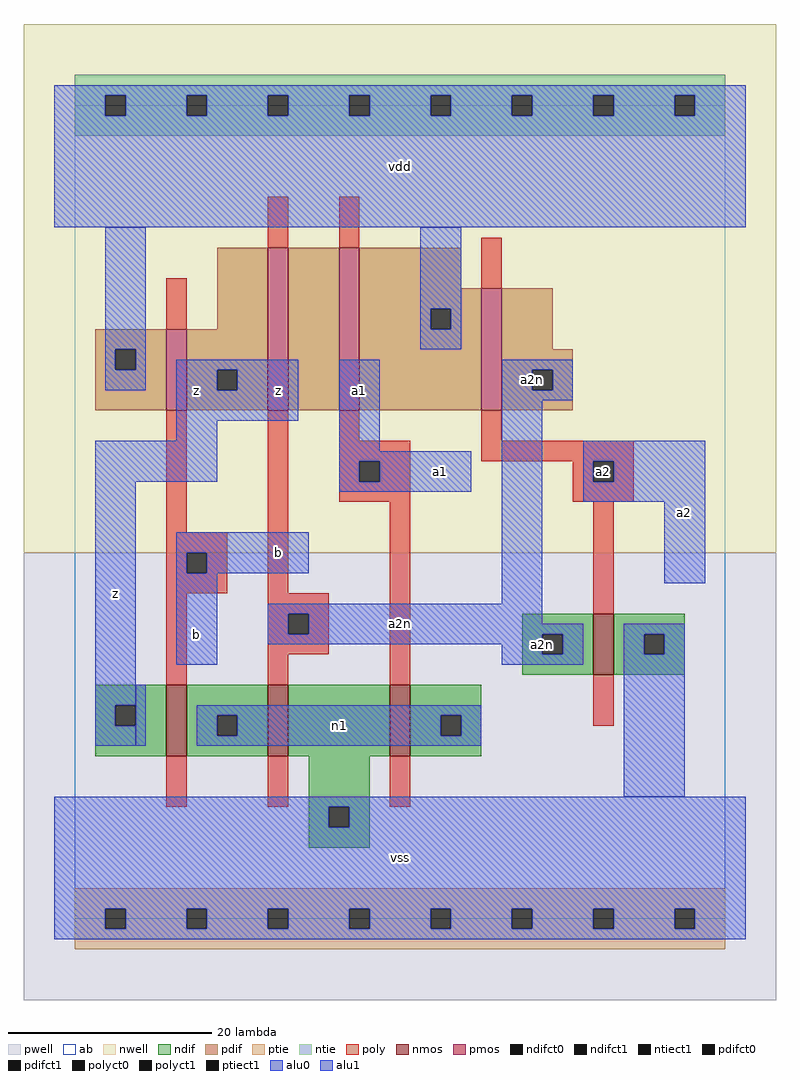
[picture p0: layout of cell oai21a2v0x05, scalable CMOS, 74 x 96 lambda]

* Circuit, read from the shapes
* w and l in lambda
.subckt oai21a2v0x05 a1 a2 a2n b n1 vdd vss z
M1 n1 b z vss nfet w=7 l=2
M2 vss a2n n1 vss nfet w=7 l=2
M3 n1 a1 vss vss nfet w=7 l=2
M4 vss a2 a2n vss nfet w=6 l=2
M5 z b vdd vdd pfet w=8 l=2
M6 n2 a2n z vdd pfet w=16 l=2
M7 vdd a1 n2 vdd pfet w=16 l=2
M8 a2n a2 vdd vdd pfet w=12 l=2
.ends

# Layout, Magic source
magic
tech scmos
<< ab >>
rect 0 0 64 80
<< nwell >>
rect -5 36 69 88
<< pwell >>
rect -5 -8 69 36
<< poly >>
rect 19 66 21 71
rect 26 66 28 71
rect 9 58 11 63
rect 40 62 42 67
rect 9 38 11 50
rect 9 36 15 38
rect 9 34 11 36
rect 13 34 15 36
rect 9 32 15 34
rect 19 32 21 50
rect 26 47 28 50
rect 40 47 42 50
rect 26 45 33 47
rect 40 45 55 47
rect 26 43 28 45
rect 30 43 33 45
rect 26 41 33 43
rect 49 43 51 45
rect 53 43 55 45
rect 49 41 55 43
rect 9 23 11 32
rect 19 30 25 32
rect 19 28 21 30
rect 23 28 25 30
rect 19 26 25 28
rect 19 23 21 26
rect 31 23 33 41
rect 51 30 53 41
rect 51 19 53 24
rect 9 11 11 16
rect 19 11 21 16
rect 31 11 33 16
<< ndif >>
rect 44 28 51 30
rect 44 26 46 28
rect 48 26 51 28
rect 44 24 51 26
rect 53 28 60 30
rect 53 26 56 28
rect 58 26 60 28
rect 53 24 60 26
rect 2 21 9 23
rect 2 19 4 21
rect 6 19 9 21
rect 2 16 9 19
rect 11 20 19 23
rect 11 18 14 20
rect 16 18 19 20
rect 11 16 19 18
rect 21 16 31 23
rect 33 20 40 23
rect 33 18 36 20
rect 38 18 40 20
rect 33 16 40 18
rect 23 11 29 16
rect 23 9 25 11
rect 27 9 29 11
rect 23 7 29 9
<< pdif >>
rect 14 58 19 66
rect 2 56 9 58
rect 2 54 4 56
rect 6 54 9 56
rect 2 50 9 54
rect 11 54 19 58
rect 11 52 14 54
rect 16 52 19 54
rect 11 50 19 52
rect 21 50 26 66
rect 28 62 38 66
rect 28 60 40 62
rect 28 58 35 60
rect 37 58 40 60
rect 28 50 40 58
rect 42 56 47 62
rect 42 54 49 56
rect 42 52 45 54
rect 47 52 49 54
rect 42 50 49 52
<< alu1 >>
rect -2 81 66 82
rect -2 79 3 81
rect 5 79 11 81
rect 13 79 19 81
rect 21 79 27 81
rect 29 79 35 81
rect 37 79 43 81
rect 45 79 51 81
rect 53 79 59 81
rect 61 79 66 81
rect -2 68 66 79
rect 10 54 22 55
rect 10 52 14 54
rect 16 52 22 54
rect 10 49 22 52
rect 10 47 14 49
rect 2 43 14 47
rect 26 46 30 55
rect 26 45 39 46
rect 26 43 28 45
rect 30 43 39 45
rect 2 21 6 43
rect 26 42 39 43
rect 10 36 23 38
rect 10 34 11 36
rect 13 34 23 36
rect 10 25 14 34
rect 50 45 62 47
rect 50 43 51 45
rect 53 43 62 45
rect 50 41 62 43
rect 58 33 62 41
rect 2 19 4 21
rect 2 17 6 19
rect -2 11 66 12
rect -2 9 25 11
rect 27 9 66 11
rect -2 1 66 9
rect -2 -1 3 1
rect 5 -1 11 1
rect 13 -1 19 1
rect 21 -1 27 1
rect 29 -1 35 1
rect 37 -1 43 1
rect 45 -1 51 1
rect 53 -1 59 1
rect 61 -1 66 1
rect -2 -2 66 -1
<< ptie >>
rect 0 1 64 3
rect 0 -1 3 1
rect 5 -1 11 1
rect 13 -1 19 1
rect 21 -1 27 1
rect 29 -1 35 1
rect 37 -1 43 1
rect 45 -1 51 1
rect 53 -1 59 1
rect 61 -1 64 1
rect 0 -3 64 -1
<< ntie >>
rect 0 81 64 83
rect 0 79 3 81
rect 5 79 11 81
rect 13 79 19 81
rect 21 79 27 81
rect 29 79 35 81
rect 37 79 43 81
rect 45 79 51 81
rect 53 79 59 81
rect 61 79 64 81
rect 0 77 64 79
<< nmos >>
rect 51 24 53 30
rect 9 16 11 23
rect 19 16 21 23
rect 31 16 33 23
<< pmos >>
rect 9 50 11 58
rect 19 50 21 66
rect 26 50 28 66
rect 40 50 42 62
<< polyct0 >>
rect 21 28 23 30
<< polyct1 >>
rect 11 34 13 36
rect 28 43 30 45
rect 51 43 53 45
<< ndifct0 >>
rect 46 26 48 28
rect 56 26 58 28
rect 14 18 16 20
rect 36 18 38 20
<< ndifct1 >>
rect 4 19 6 21
rect 25 9 27 11
<< ntiect1 >>
rect 3 79 5 81
rect 11 79 13 81
rect 19 79 21 81
rect 27 79 29 81
rect 35 79 37 81
rect 43 79 45 81
rect 51 79 53 81
rect 59 79 61 81
<< ptiect1 >>
rect 3 -1 5 1
rect 11 -1 13 1
rect 19 -1 21 1
rect 27 -1 29 1
rect 35 -1 37 1
rect 43 -1 45 1
rect 51 -1 53 1
rect 59 -1 61 1
<< pdifct0 >>
rect 4 54 6 56
rect 35 58 37 60
rect 45 52 47 54
<< pdifct1 >>
rect 14 52 16 54
<< alu0 >>
rect 3 56 7 68
rect 34 60 38 68
rect 34 58 35 60
rect 37 58 38 60
rect 34 56 38 58
rect 3 54 4 56
rect 6 54 7 56
rect 3 52 7 54
rect 42 54 49 55
rect 42 52 45 54
rect 47 52 49 54
rect 42 51 49 52
rect 42 31 46 51
rect 19 30 46 31
rect 19 28 21 30
rect 23 29 46 30
rect 23 28 50 29
rect 19 27 46 28
rect 42 26 46 27
rect 48 26 50 28
rect 42 25 50 26
rect 54 28 60 29
rect 54 26 56 28
rect 58 26 60 28
rect 6 17 7 23
rect 12 20 40 21
rect 12 18 14 20
rect 16 18 36 20
rect 38 18 40 20
rect 12 17 40 18
rect 54 12 60 26
<< labels >>
rlabel alu0 26 19 26 19 6 n1
rlabel alu0 32 29 32 29 6 a2n
rlabel alu0 46 27 46 27 6 a2n
rlabel alu0 45 53 45 53 6 a2n
rlabel alu1 4 32 4 32 6 z
rlabel alu1 12 28 12 28 6 b
rlabel alu1 12 52 12 52 6 z
rlabel alu1 20 36 20 36 6 b
rlabel alu1 20 52 20 52 6 z
rlabel alu1 28 52 28 52 6 a1
rlabel alu1 32 6 32 6 6 vss
rlabel alu1 36 44 36 44 6 a1
rlabel alu1 32 74 32 74 6 vdd
rlabel alu1 60 40 60 40 6 a2
rlabel polyct1 52 44 52 44 6 a2
<< end >>
